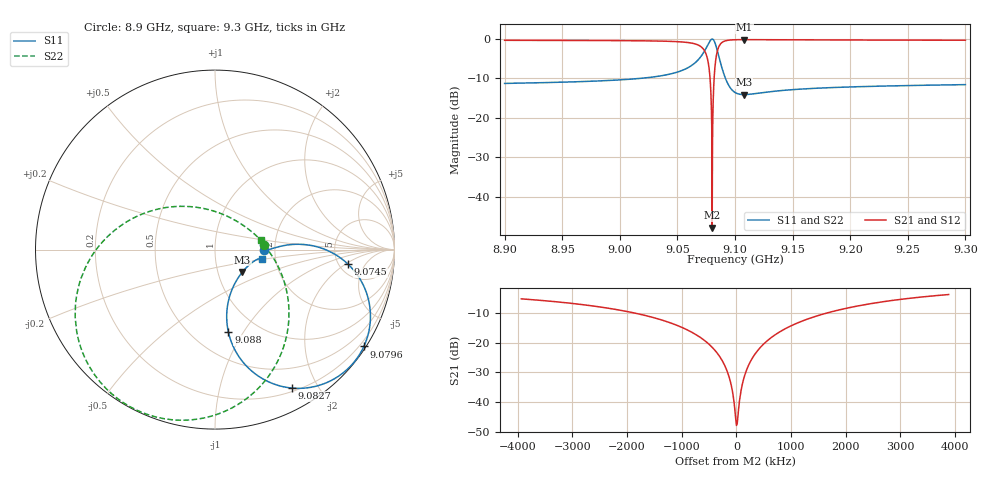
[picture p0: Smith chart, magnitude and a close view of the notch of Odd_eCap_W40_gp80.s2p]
! Sonnet Data File
! From: emgraph Version : 16.52
! From Project: Resonator2_extremeCap2
! Data is De-embedded
! Data File Written: 10/11/2017 16:32:17
!< HDATE 10/11/2017 09:31:16
!< MDATE 10/11/2017 09:31:16
!< PARAMS
!< Pwid1 = 2000.0
!< Pwid2 = 2000.0
!< Air_gap = 24.0
!< Width = 40.0
!< Gap = 80.0
!< END PARAMS
# GHZ S MA R 45.40000
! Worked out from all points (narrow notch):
!   2193 points, 8.9 GHz to 9.3 GHz, reference 45.4 ohm
!   highest |S21| = -0.17 dB at 9.108 GHz (marker M1); lowest = -47.8 dB at 9.0802 GHz (marker M2)
!   notch at M2: 47.4 dB deep, 657 kHz wide at half that depth
!   lowest |S11| = -14.1 dB at 9.1077 GHz (marker M3), VSWR 1.49, Z = 59.5 - j15.4 ohm
!   |S11| at or under -10 dB: start of sweep to 9.0172 GHz; 9.0917 GHz to end of sweep
!   |S22| runs from -14.1 to 0.0 dB; largest |S21 - S12| = 0
!   S11 on the Smith chart (normalised r, x): 8.9 GHz: 1.75, -0.02; 9.0745 GHz: 6.04, -2.21; 9.0796 GHz: 0.06, -3.37; 9.0827 GHz: 0.24, -1.67; 9.088 GHz: 0.73, -0.86; 9.3 GHz: 1.69, -0.18
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8.9  0.2734 -0.9  0.9619 -88.0  0.9619 -88.0  0.2734 4.9
!< P1 F=8.9 Eeff=(5.09096395 -2.214e-5) Z0=(45.4059169 1.00354e-4) R=0.0 C=0.0
!< P2 F=8.9 Eeff=(5.09096395 -2.214e-5) Z0=(45.4059169 1.00354e-4) R=0.0 C=0.0
8.96675  0.2883 -0.5  0.9575 -89.7  0.9575 -89.7  0.2883 1.1
9.033499  0.3372 1.9  0.9414 -94.0  0.9414 -94.0  0.3371 -9.9
9.0625  0.4633 3.7  0.8859 -103.3  0.8859 -103.3  0.4631 -30.3
9.0745  0.7458 -6.3  0.6644 -125.2  0.6644 -125.2  0.745 -64.5
9.077974  0.9277 -21.3  0.3669 -145.6  0.3669 -145.6  0.9264 -90.9
9.079566  0.9896 -33.0  0.1211 -159.2  0.1211 -159.2  0.988 -108.9
9.07994  0.9954 -36.2  0.05332 -160.8  0.05332 -160.8  0.9938 -113.7
9.080218  0.9967 -38.7  0.004068 -90.1  0.004068 -90.1  0.9951 -117.4
9.080311  0.9966 -39.5  0.01733 -2.4  0.01733 -2.4  0.995 -118.6
9.080514  0.9951 -41.4  0.05609 4.5  0.05609 4.5  0.9935 -121.4
9.080928  0.9873 -45.1  0.1363 2.2  0.1363 2.2  0.9856 -127.0
9.081755  0.9523 -52.6  0.294 -6.4  0.294 -6.4  0.9506 -138.4
9.082749  0.882 -61.0  0.4647 -16.9  0.4647 -16.9  0.8803 -151.8
9.085288  0.6551 -75.6  0.7529 -38.6  0.7529 -38.6  0.6536 179.0
9.087983  0.4654 -80.8  0.8838 -52.7  0.8838 -52.7  0.4642 155.8
9.1  0.2099 -55.3  0.9775 -74.0  0.9775 -74.0  0.2094 87.3
9.10775  0.1973 -39.1  0.9802 -78.3  0.9802 -78.3  0.197 62.5
9.108  0.1973 -38.8  0.9802 -78.4  0.9802 -78.4  0.197 61.9
9.16675  0.236 -14.1  0.9717 -86.3  0.9717 -86.3  0.236 21.6
9.2335  0.254 -11.4  0.9672 -88.5  0.9672 -88.5  0.254 14.4
9.3  0.264 -11.0  0.9645 -89.9  0.9645 -89.9  0.264 11.2
